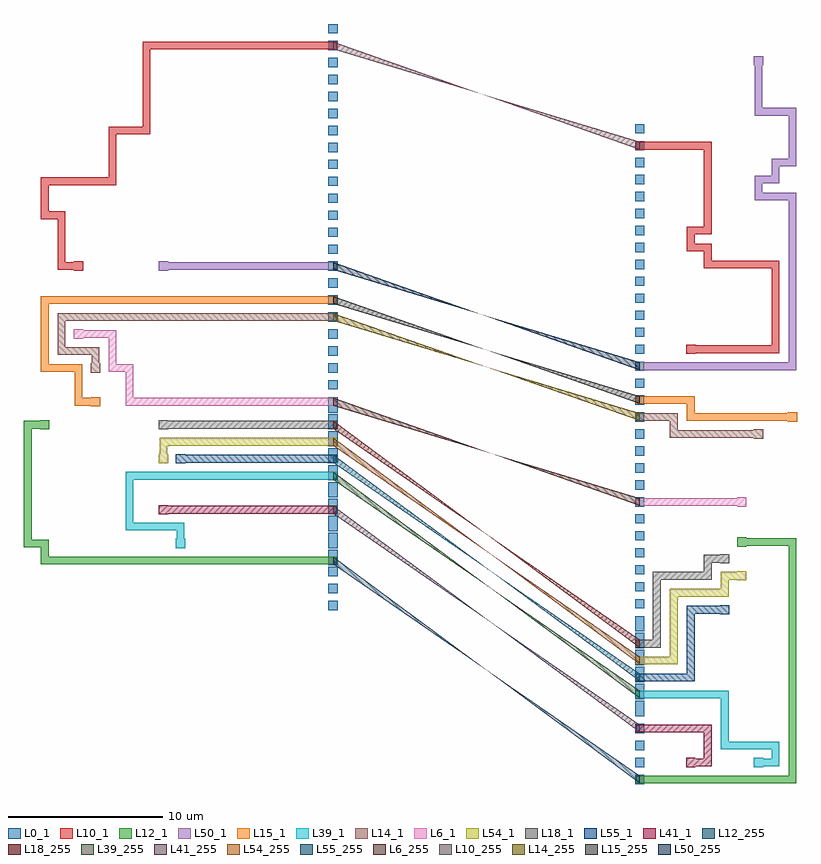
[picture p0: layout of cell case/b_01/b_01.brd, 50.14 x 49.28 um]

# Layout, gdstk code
import gdstk
lib = gdstk.Library(unit=1e-6, precision=2.5e-10)
def R(c, l, rs):  # rectangles x0, y0, x1, y1
    for r in rs: c.add(gdstk.rectangle(r[:2], r[2:], *l))
def A(c, l, x, y, w, h, nx, ny, dx, dy):  # array of equal rectangles
    R(c, l, [(x+i*dx, y+j*dy, x+i*dx+w, y+j*dy+h) for i in range(nx) for j in range(ny)])
def P(c, l, *ps):  # polygons
    for p in ps: c.add(gdstk.Polygon(p, *l))
L0_1 = (0, 1)
L6_1 = (6, 1)
L6_255 = (6, 255)
L10_1 = (10, 1)
L10_255 = (10, 255)
L12_1 = (12, 1)
L12_255 = (12, 255)
L14_1 = (14, 1)
L14_255 = (14, 255)
L15_1 = (15, 1)
L15_255 = (15, 255)
L18_1 = (18, 1)
L18_255 = (18, 255)
L39_1 = (39, 1)
L39_255 = (39, 255)
L41_1 = (41, 1)
L41_255 = (41, 255)
L50_1 = (50, 1)
L50_255 = (50, 255)
L54_1 = (54, 1)
L54_255 = (54, 255)
L55_1 = (55, 1)
L55_255 = (55, 255)

case_b_01_b_01_brd = lib.new_cell('case/b_01/b_01.brd')
R(case_b_01_b_01_brd, L0_1, [(155.712,160.842,156.312,161.442), (155.712,160.842,156.312,161.442), (155.712,160.842,156.312,161.442), (155.712,160.842,156.312,161.442), (155.712,160.842,156.312,161.442), (155.712,160.842,156.312,161.442), (155.712,161.942,156.312,162.542), (155.712,161.942,156.312,162.542), (155.712,161.942,156.312,162.542), (155.712,161.942,156.312,162.542), (155.712,161.942,156.312,162.542), (155.712,161.942,156.312,162.542), (155.712,163.042,156.312,163.642), (155.712,163.042,156.312,163.642), (155.712,163.042,156.312,163.642), (155.712,163.042,156.312,163.642), (155.712,163.042,156.312,163.642), (155.712,163.042,156.312,163.642), (155.712,164.142,156.312,164.742), (155.712,164.142,156.312,164.742), (155.712,164.142,156.312,164.742), (155.712,164.142,156.312,164.742), (155.712,164.142,156.312,164.742), (155.712,164.142,156.312,164.742), (155.712,165.242,156.312,165.842), (155.712,165.242,156.312,165.842), (155.712,165.242,156.312,165.842), (155.712,165.242,156.312,165.842), (155.712,165.242,156.312,165.842), (155.712,165.242,156.312,165.842), (155.712,165.635,156.312,166.235), (155.712,165.635,156.312,166.235), (155.712,165.635,156.312,166.235), (155.712,165.635,156.312,166.235), (155.712,165.635,156.312,166.235), (155.712,166.342,156.312,166.942), (155.712,166.342,156.312,166.942), (155.712,166.342,156.312,166.942), (155.712,166.342,156.312,166.942), (155.712,166.342,156.312,166.942), (155.712,166.342,156.312,166.942), (155.712,166.735,156.312,167.335), (155.712,166.735,156.312,167.335), (155.712,166.735,156.312,167.335), (155.712,166.735,156.312,167.335), (155.712,166.735,156.312,167.335), (155.712,167.442,156.312,168.042), (155.712,167.442,156.312,168.042), (155.712,167.442,156.312,168.042), (155.712,167.442,156.312,168.042), (155.712,167.442,156.312,168.042), (155.712,167.442,156.312,168.042), (155.712,167.835,156.312,168.435), (155.712,167.835,156.312,168.435), (155.712,167.835,156.312,168.435), (155.712,167.835,156.312,168.435), (155.712,167.835,156.312,168.435), (155.712,168.542,156.312,169.142), (155.712,168.542,156.312,169.142), (155.712,168.542,156.312,169.142), (155.712,168.542,156.312,169.142), (155.712,168.542,156.312,169.142), (155.712,168.542,156.312,169.142), (155.712,168.935,156.312,169.535), (155.712,168.935,156.312,169.535), (155.712,168.935,156.312,169.535), (155.712,168.935,156.312,169.535), (155.712,168.935,156.312,169.535), (155.712,169.642,156.312,170.242), (155.712,169.642,156.312,170.242), (155.712,169.642,156.312,170.242), (155.712,169.642,156.312,170.242), (155.712,169.642,156.312,170.242), (155.712,169.642,156.312,170.242), (155.712,170.035,156.312,170.635), (155.712,170.035,156.312,170.635), (155.712,170.035,156.312,170.635), (155.712,170.035,156.312,170.635), (155.712,170.035,156.312,170.635), (155.712,170.742,156.312,171.342), (155.712,170.742,156.312,171.342), (155.712,170.742,156.312,171.342), (155.712,170.742,156.312,171.342), (155.712,170.742,156.312,171.342), (155.712,170.742,156.312,171.342), (155.712,171.135,156.312,171.735), (155.712,171.135,156.312,171.735), (155.712,171.135,156.312,171.735), (155.712,171.135,156.312,171.735), (155.712,171.135,156.312,171.735), (135.819,172.123,136.419,172.723), (135.819,172.123,136.419,172.723), (135.819,172.123,136.419,172.723), (135.819,172.123,136.419,172.723), (135.819,172.123,136.419,172.723), (155.712,172.235,156.312,172.835), (155.712,172.235,156.312,172.835), (155.712,172.235,156.312,172.835), (155.712,172.235,156.312,172.835), (155.712,172.235,156.312,172.835), (135.819,173.223,136.419,173.823), (135.819,173.223,136.419,173.823), (135.819,173.223,136.419,173.823), (135.819,173.223,136.419,173.823), (135.819,173.223,136.419,173.823), (155.712,173.335,156.312,173.935), (155.712,173.335,156.312,173.935), (155.712,173.335,156.312,173.935), (155.712,173.335,156.312,173.935), (155.712,173.335,156.312,173.935), (135.819,174.323,136.419,174.923), (135.819,174.323,136.419,174.923), (135.819,174.323,136.419,174.923), (135.819,174.323,136.419,174.923), (135.819,174.323,136.419,174.923), (155.712,174.435,156.312,175.035), (155.712,174.435,156.312,175.035), (155.712,174.435,156.312,175.035), (155.712,174.435,156.312,175.035), (155.712,174.435,156.312,175.035), (135.819,175.031,136.419,175.631), (135.819,175.031,136.419,175.631), (135.819,175.031,136.419,175.631), (135.819,175.031,136.419,175.631), (135.819,175.031,136.419,175.631), (135.819,175.031,136.419,175.631), (135.819,175.423,136.419,176.023), (135.819,175.423,136.419,176.023), (135.819,175.423,136.419,176.023), (135.819,175.423,136.419,176.023), (135.819,175.423,136.419,176.023), (155.712,175.535,156.312,176.135), (155.712,175.535,156.312,176.135), (155.712,175.535,156.312,176.135), (155.712,175.535,156.312,176.135), (155.712,175.535,156.312,176.135), (135.819,176.131,136.419,176.731), (135.819,176.131,136.419,176.731), (135.819,176.131,136.419,176.731), (135.819,176.131,136.419,176.731), (135.819,176.131,136.419,176.731), (135.819,176.131,136.419,176.731), (135.819,176.523,136.419,177.123), (135.819,176.523,136.419,177.123), (135.819,176.523,136.419,177.123), (135.819,176.523,136.419,177.123), (135.819,176.523,136.419,177.123), (155.712,176.635,156.312,177.235), (155.712,176.635,156.312,177.235), (155.712,176.635,156.312,177.235), (155.712,176.635,156.312,177.235), (155.712,176.635,156.312,177.235), (135.819,177.231,136.419,177.831), (135.819,177.231,136.419,177.831), (135.819,177.231,136.419,177.831), (135.819,177.231,136.419,177.831), (135.819,177.231,136.419,177.831), (135.819,177.231,136.419,177.831), (135.819,177.623,136.419,178.223), (135.819,177.623,136.419,178.223), (135.819,177.623,136.419,178.223), (135.819,177.623,136.419,178.223), (135.819,177.623,136.419,178.223), (155.712,177.735,156.312,178.335), (155.712,177.735,156.312,178.335), (155.712,177.735,156.312,178.335), (155.712,177.735,156.312,178.335), (155.712,177.735,156.312,178.335), (135.819,178.331,136.419,178.931), (135.819,178.331,136.419,178.931), (135.819,178.331,136.419,178.931), (135.819,178.331,136.419,178.931), (135.819,178.331,136.419,178.931), (135.819,178.331,136.419,178.931), (135.819,178.723,136.419,179.323), (135.819,178.723,136.419,179.323), (135.819,178.723,136.419,179.323), (135.819,178.723,136.419,179.323), (135.819,178.723,136.419,179.323), (155.712,178.835,156.312,179.435), (155.712,178.835,156.312,179.435), (155.712,178.835,156.312,179.435), (155.712,178.835,156.312,179.435), (155.712,178.835,156.312,179.435), (135.819,179.431,136.419,180.031), (135.819,179.431,136.419,180.031), (135.819,179.431,136.419,180.031), (135.819,179.431,136.419,180.031), (135.819,179.431,136.419,180.031), (135.819,179.431,136.419,180.031), (135.819,179.823,136.419,180.423), (135.819,179.823,136.419,180.423), (135.819,179.823,136.419,180.423), (135.819,179.823,136.419,180.423), (135.819,179.823,136.419,180.423), (155.712,179.935,156.312,180.535), (155.712,179.935,156.312,180.535), (155.712,179.935,156.312,180.535), (155.712,179.935,156.312,180.535), (155.712,179.935,156.312,180.535), (135.819,180.531,136.419,181.131), (135.819,180.531,136.419,181.131), (135.819,180.531,136.419,181.131), (135.819,180.531,136.419,181.131), (135.819,180.531,136.419,181.131), (135.819,180.531,136.419,181.131), (135.819,180.923,136.419,181.523), (135.819,180.923,136.419,181.523), (135.819,180.923,136.419,181.523), (135.819,180.923,136.419,181.523), (135.819,180.923,136.419,181.523), (155.712,181.035,156.312,181.635), (155.712,181.035,156.312,181.635), (155.712,181.035,156.312,181.635), (155.712,181.035,156.312,181.635), (155.712,181.035,156.312,181.635), (135.819,181.631,136.419,182.231), (135.819,181.631,136.419,182.231), (135.819,181.631,136.419,182.231), (135.819,181.631,136.419,182.231), (135.819,181.631,136.419,182.231), (135.819,181.631,136.419,182.231), (135.819,182.023,136.419,182.623), (135.819,182.023,136.419,182.623), (135.819,182.023,136.419,182.623), (135.819,182.023,136.419,182.623), (135.819,182.023,136.419,182.623), (155.712,182.135,156.312,182.735), (155.712,182.135,156.312,182.735), (155.712,182.135,156.312,182.735), (155.712,182.135,156.312,182.735), (155.712,182.135,156.312,182.735), (135.819,182.731,136.419,183.331), (135.819,182.731,136.419,183.331), (135.819,182.731,136.419,183.331), (135.819,182.731,136.419,183.331), (135.819,182.731,136.419,183.331), (135.819,182.731,136.419,183.331), (135.819,183.123,136.419,183.723), (135.819,183.123,136.419,183.723), (135.819,183.123,136.419,183.723), (135.819,183.123,136.419,183.723), (135.819,183.123,136.419,183.723), (155.712,183.235,156.312,183.835), (155.712,183.235,156.312,183.835), (155.712,183.235,156.312,183.835), (155.712,183.235,156.312,183.835), (155.712,183.235,156.312,183.835), (135.819,183.831,136.419,184.431), (135.819,183.831,136.419,184.431), (135.819,183.831,136.419,184.431), (135.819,183.831,136.419,184.431), (135.819,183.831,136.419,184.431), (135.819,183.831,136.419,184.431), (135.819,184.223,136.419,184.823), (135.819,184.223,136.419,184.823), (135.819,184.223,136.419,184.823), (135.819,184.223,136.419,184.823), (135.819,184.223,136.419,184.823), (155.712,184.335,156.312,184.935), (155.712,184.335,156.312,184.935), (155.712,184.335,156.312,184.935), (155.712,184.335,156.312,184.935), (155.712,184.335,156.312,184.935), (135.819,184.931,136.419,185.531), (135.819,184.931,136.419,185.531), (135.819,184.931,136.419,185.531), (135.819,184.931,136.419,185.531), (135.819,184.931,136.419,185.531), (135.819,184.931,136.419,185.531), (135.819,185.323,136.419,185.923), (135.819,185.323,136.419,185.923), (135.819,185.323,136.419,185.923), (135.819,185.323,136.419,185.923), (135.819,185.323,136.419,185.923), (155.712,185.435,156.312,186.035), (155.712,185.435,156.312,186.035), (155.712,185.435,156.312,186.035), (155.712,185.435,156.312,186.035), (155.712,185.435,156.312,186.035), (135.819,186.423,136.419,187.023), (135.819,186.423,136.419,187.023), (135.819,186.423,136.419,187.023), (135.819,186.423,136.419,187.023), (135.819,186.423,136.419,187.023), (155.712,186.535,156.312,187.135), (155.712,186.535,156.312,187.135), (155.712,186.535,156.312,187.135), (155.712,186.535,156.312,187.135), (155.712,186.535,156.312,187.135), (135.819,187.523,136.419,188.123), (135.819,187.523,136.419,188.123), (135.819,187.523,136.419,188.123), (135.819,187.523,136.419,188.123), (135.819,187.523,136.419,188.123), (155.712,187.635,156.312,188.235), (155.712,187.635,156.312,188.235), (155.712,187.635,156.312,188.235), (155.712,187.635,156.312,188.235), (155.712,187.635,156.312,188.235), (135.819,188.623,136.419,189.223), (135.819,188.623,136.419,189.223), (135.819,188.623,136.419,189.223), (135.819,188.623,136.419,189.223), (135.819,188.623,136.419,189.223), (155.712,188.735,156.312,189.335), (155.712,188.735,156.312,189.335), (155.712,188.735,156.312,189.335), (155.712,188.735,156.312,189.335), (155.712,188.735,156.312,189.335), (135.819,189.723,136.419,190.323), (135.819,189.723,136.419,190.323), (135.819,189.723,136.419,190.323), (135.819,189.723,136.419,190.323), (135.819,189.723,136.419,190.323), (155.712,189.835,156.312,190.435), (155.712,189.835,156.312,190.435), (155.712,189.835,156.312,190.435), (155.712,189.835,156.312,190.435), (155.712,189.835,156.312,190.435), (135.819,190.823,136.419,191.423), (135.819,190.823,136.419,191.423), (135.819,190.823,136.419,191.423), (135.819,190.823,136.419,191.423), (135.819,190.823,136.419,191.423), (155.712,190.935,156.312,191.535), (155.712,190.935,156.312,191.535), (155.712,190.935,156.312,191.535), (155.712,190.935,156.312,191.535), (155.712,190.935,156.312,191.535), (135.819,191.923,136.419,192.523), (135.819,191.923,136.419,192.523), (135.819,191.923,136.419,192.523), (135.819,191.923,136.419,192.523), (135.819,191.923,136.419,192.523), (155.712,192.035,156.312,192.635), (155.712,192.035,156.312,192.635), (155.712,192.035,156.312,192.635), (155.712,192.035,156.312,192.635), (155.712,192.035,156.312,192.635), (135.819,193.023,136.419,193.623), (135.819,193.023,136.419,193.623), (135.819,193.023,136.419,193.623), (135.819,193.023,136.419,193.623), (135.819,193.023,136.419,193.623), (155.712,193.135,156.312,193.735), (155.712,193.135,156.312,193.735), (155.712,193.135,156.312,193.735), (155.712,193.135,156.312,193.735), (155.712,193.135,156.312,193.735), (135.819,194.123,136.419,194.723), (135.819,194.123,136.419,194.723), (135.819,194.123,136.419,194.723), (135.819,194.123,136.419,194.723), (135.819,194.123,136.419,194.723), (155.712,194.235,156.312,194.835), (155.712,194.235,156.312,194.835), (155.712,194.235,156.312,194.835), (155.712,194.235,156.312,194.835), (155.712,194.235,156.312,194.835), (135.819,195.223,136.419,195.823), (135.819,195.223,136.419,195.823), (135.819,195.223,136.419,195.823), (135.819,195.223,136.419,195.823), (135.819,195.223,136.419,195.823), (155.712,195.335,156.312,195.935), (155.712,195.335,156.312,195.935), (155.712,195.335,156.312,195.935), (155.712,195.335,156.312,195.935), (155.712,195.335,156.312,195.935), (135.819,196.323,136.419,196.923), (135.819,196.323,136.419,196.923), (135.819,196.323,136.419,196.923), (135.819,196.323,136.419,196.923), (135.819,196.323,136.419,196.923), (155.712,196.435,156.312,197.035), (155.712,196.435,156.312,197.035), (155.712,196.435,156.312,197.035), (155.712,196.435,156.312,197.035), (155.712,196.435,156.312,197.035), (135.819,197.423,136.419,198.023), (135.819,197.423,136.419,198.023), (135.819,197.423,136.419,198.023), (135.819,197.423,136.419,198.023), (135.819,197.423,136.419,198.023), (155.712,197.535,156.312,198.135), (155.712,197.535,156.312,198.135), (155.712,197.535,156.312,198.135), (155.712,197.535,156.312,198.135), (155.712,197.535,156.312,198.135), (135.819,198.523,136.419,199.123), (135.819,198.523,136.419,199.123), (135.819,198.523,136.419,199.123), (135.819,198.523,136.419,199.123), (135.819,198.523,136.419,199.123), (155.712,198.635,156.312,199.235), (155.712,198.635,156.312,199.235), (155.712,198.635,156.312,199.235), (155.712,198.635,156.312,199.235), (155.712,198.635,156.312,199.235), (135.819,199.623,136.419,200.223), (135.819,199.623,136.419,200.223), (135.819,199.623,136.419,200.223), (135.819,199.623,136.419,200.223), (135.819,199.623,136.419,200.223), (155.712,199.735,156.312,200.335), (155.712,199.735,156.312,200.335), (155.712,199.735,156.312,200.335), (155.712,199.735,156.312,200.335), (155.712,199.735,156.312,200.335), (135.819,200.723,136.419,201.323), (135.819,200.723,136.419,201.323), (135.819,200.723,136.419,201.323), (135.819,200.723,136.419,201.323), (135.819,200.723,136.419,201.323), (155.712,200.835,156.312,201.435), (155.712,200.835,156.312,201.435), (155.712,200.835,156.312,201.435), (155.712,200.835,156.312,201.435), (155.712,200.835,156.312,201.435), (135.819,201.823,136.419,202.423), (135.819,201.823,136.419,202.423), (135.819,201.823,136.419,202.423), (135.819,201.823,136.419,202.423), (135.819,201.823,136.419,202.423), (155.712,201.935,156.312,202.535), (155.712,201.935,156.312,202.535), (155.712,201.935,156.312,202.535), (155.712,201.935,156.312,202.535), (155.712,201.935,156.312,202.535), (135.819,202.923,136.419,203.523), (135.819,202.923,136.419,203.523), (135.819,202.923,136.419,203.523), (135.819,202.923,136.419,203.523), (135.819,202.923,136.419,203.523), (155.712,203.035,156.312,203.635), (155.712,203.035,156.312,203.635), (155.712,203.035,156.312,203.635), (155.712,203.035,156.312,203.635), (155.712,203.035,156.312,203.635), (135.819,204.023,136.419,204.623), (135.819,204.023,136.419,204.623), (135.819,204.023,136.419,204.623), (135.819,204.023,136.419,204.623), (135.819,204.023,136.419,204.623), (135.819,205.123,136.419,205.723), (135.819,205.123,136.419,205.723), (135.819,205.123,136.419,205.723), (135.819,205.123,136.419,205.723), (135.819,205.123,136.419,205.723), (135.819,206.223,136.419,206.823), (135.819,206.223,136.419,206.823), (135.819,206.223,136.419,206.823), (135.819,206.223,136.419,206.823), (135.819,206.223,136.419,206.823), (135.819,207.323,136.419,207.923), (135.819,207.323,136.419,207.923), (135.819,207.323,136.419,207.923), (135.819,207.323,136.419,207.923), (135.819,207.323,136.419,207.923), (135.819,208.423,136.419,209.023), (135.819,208.423,136.419,209.023), (135.819,208.423,136.419,209.023), (135.819,208.423,136.419,209.023), (135.819,208.423,136.419,209.023), (135.819,209.523,136.419,210.123), (135.819,209.523,136.419,210.123), (135.819,209.523,136.419,210.123), (135.819,209.523,136.419,210.123), (135.819,209.523,136.419,210.123)])
A(case_b_01_b_01_brd, L6_1, 155.762, 178.885, 1.6, 0.5, 6, 1, 1.1, 0)
A(case_b_01_b_01_brd, L6_1, 122.669, 185.373, 1.6, 0.5, 12, 1, 1.1, 0)
R(case_b_01_b_01_brd, L6_1, [(162.312,178.835,162.912,179.435), (122.669,185.373,123.169,186.973), (122.669,186.473,123.169,188.073), (121.569,187.573,123.169,188.073), (121.569,187.573,122.069,189.173), (121.569,188.673,122.069,190.273), (119.319,189.723,119.919,190.323), (119.369,189.773,120.969,190.273), (120.469,189.773,122.069,190.273)])
P(case_b_01_b_01_brd, L6_255, [(156.012,178.885),(156.012,179.385),(136.119,185.373),(136.119,185.873)])
A(case_b_01_b_01_brd, L10_1, 159.062, 188.785, 1.6, 0.5, 5, 1, 1.1, 0)
A(case_b_01_b_01_brd, L10_1, 164.562, 188.785, 0.5, 1.6, 1, 5, 0, 1.1)
A(case_b_01_b_01_brd, L10_1, 118.269, 194.173, 0.5, 1.6, 1, 3, 0, 1.1)
A(case_b_01_b_01_brd, L10_1, 160.162, 194.285, 1.6, 0.5, 4, 1, 1.1, 0)
A(case_b_01_b_01_brd, L10_1, 160.162, 196.485, 0.5, 1.6, 1, 5, 0, 1.1)
A(case_b_01_b_01_brd, L10_1, 117.169, 199.673, 1.6, 0.5, 4, 1, 1.1, 0)
A(case_b_01_b_01_brd, L10_1, 121.569, 199.673, 0.5, 1.6, 1, 3, 0, 1.1)
A(case_b_01_b_01_brd, L10_1, 155.762, 201.985, 1.6, 0.5, 4, 1, 1.1, 0)
A(case_b_01_b_01_brd, L10_1, 123.769, 202.973, 0.5, 1.6, 1, 5, 0, 1.1)
A(case_b_01_b_01_brd, L10_1, 123.769, 208.473, 1.6, 0.5, 11, 1, 1.1, 0)
R(case_b_01_b_01_brd, L10_1, [(159.012,188.735,159.612,189.335), (119.319,194.123,119.919,194.723), (118.269,194.173,119.869,194.673), (160.162,194.285,160.662,195.885), (159.062,195.385,160.662,195.885), (159.062,195.385,159.562,196.985), (159.062,196.485,160.662,196.985), (117.169,197.473,118.769,197.973), (117.169,197.473,117.669,199.073), (117.169,198.573,117.669,200.173), (121.569,202.973,123.169,203.473), (122.669,202.973,124.269,203.473)])
P(case_b_01_b_01_brd, L10_255, [(156.012,201.985),(156.012,202.485),(136.119,208.473),(136.119,208.973)])
A(case_b_01_b_01_brd, L12_1, 155.762, 160.892, 1.6, 0.5, 9, 1, 1.1, 0)
A(case_b_01_b_01_brd, L12_1, 165.662, 160.892, 0.5, 1.6, 1, 14, 0, 1.1)
A(case_b_01_b_01_brd, L12_1, 117.169, 175.081, 1.6, 0.5, 17, 1, 1.1, 0)
A(case_b_01_b_01_brd, L12_1, 116.069, 176.181, 0.5, 1.6, 1, 7, 0, 1.1)
A(case_b_01_b_01_brd, L12_1, 162.362, 176.292, 1.6, 0.5, 3, 1, 1.1, 0)
R(case_b_01_b_01_brd, L12_1, [(117.169,175.081,117.669,176.681), (116.069,176.181,117.669,176.681), (162.312,176.242,162.912,176.842), (117.119,183.831,117.719,184.431), (116.069,183.881,117.669,184.381)])
P(case_b_01_b_01_brd, L12_255, [(156.012,160.892),(156.012,161.392),(136.119,175.081),(136.119,175.581)])
A(case_b_01_b_01_brd, L14_1, 157.962, 183.285, 1.6, 0.5, 5, 1, 1.1, 0)
A(case_b_01_b_01_brd, L14_1, 118.269, 190.873, 1.6, 0.5, 16, 1, 1.1, 0)
R(case_b_01_b_01_brd, L14_1, [(163.412,183.235,164.012,183.835), (157.962,183.285,158.462,184.885), (155.762,184.385,157.362,184.885), (156.862,184.385,158.462,184.885), (120.419,187.523,121.019,188.123), (120.469,187.573,120.969,189.173), (118.269,188.673,119.869,189.173), (118.269,188.673,118.769,190.273), (119.369,188.673,120.969,189.173), (118.269,189.773,118.769,191.373)])
P(case_b_01_b_01_brd, L14_255, [(156.012,184.385),(156.012,184.885),(136.119,190.873),(136.119,191.373)])
A(case_b_01_b_01_brd, L15_1, 159.062, 184.385, 1.6, 0.5, 6, 1, 1.1, 0)
A(case_b_01_b_01_brd, L15_1, 155.762, 185.485, 1.6, 0.5, 3, 1, 1.1, 0)
A(case_b_01_b_01_brd, L15_1, 117.169, 187.573, 0.5, 1.6, 1, 4, 0, 1.1)
A(case_b_01_b_01_brd, L15_1, 117.169, 191.973, 1.6, 0.5, 17, 1, 1.1, 0)
R(case_b_01_b_01_brd, L15_1, [(165.612,184.335,166.212,184.935), (159.062,184.385,159.562,185.985), (120.419,185.323,121.019,185.923), (119.369,185.373,120.969,185.873), (119.369,185.373,119.869,186.973), (119.369,186.473,119.869,188.073), (117.169,187.573,118.769,188.073), (118.269,187.573,119.869,188.073)])
P(case_b_01_b_01_brd, L15_255, [(156.012,185.485),(156.012,185.985),(136.119,191.973),(136.119,192.473)])
A(case_b_01_b_01_brd, L18_1, 156.862, 169.692, 0.5, 1.6, 1, 4, 0, 1.1)
A(case_b_01_b_01_brd, L18_1, 156.862, 174.092, 1.6, 0.5, 3, 1, 1.1, 0)
A(case_b_01_b_01_brd, L18_1, 124.869, 183.881, 1.6, 0.5, 10, 1, 1.1, 0)
R(case_b_01_b_01_brd, L18_1, [(155.762,169.692,157.362,170.192), (160.162,174.092,160.662,175.692), (161.212,175.142,161.812,175.742), (160.162,175.192,161.762,175.692), (124.819,183.831,125.419,184.431)])
P(case_b_01_b_01_brd, L18_255, [(156.012,169.692),(156.012,170.192),(136.119,183.881),(136.119,184.381)])
A(case_b_01_b_01_brd, L39_1, 161.262, 163.092, 1.6, 0.5, 3, 1, 1.1, 0)
A(case_b_01_b_01_brd, L39_1, 161.262, 163.092, 0.5, 1.6, 1, 3, 0, 1.1)
A(case_b_01_b_01_brd, L39_1, 155.762, 166.392, 1.6, 0.5, 5, 1, 1.1, 0)
A(case_b_01_b_01_brd, L39_1, 122.669, 177.281, 1.6, 0.5, 3, 1, 1.1, 0)
A(case_b_01_b_01_brd, L39_1, 122.669, 177.281, 0.5, 1.6, 1, 3, 0, 1.1)
A(case_b_01_b_01_brd, L39_1, 122.669, 180.581, 1.6, 0.5, 12, 1, 1.1, 0)
R(case_b_01_b_01_brd, L39_1, [(163.412,161.942,164.012,162.542), (163.462,161.992,165.062,162.492), (164.562,161.992,165.062,163.592), (125.919,176.131,126.519,176.731), (125.969,176.181,126.469,177.781)])
P(case_b_01_b_01_brd, L39_255, [(156.012,166.392),(156.012,166.892),(136.119,180.581),(136.119,181.081)])
A(case_b_01_b_01_brd, L41_1, 155.762, 164.192, 1.6, 0.5, 4, 1, 1.1, 0)
A(case_b_01_b_01_brd, L41_1, 124.869, 178.381, 1.6, 0.5, 10, 1, 1.1, 0)
R(case_b_01_b_01_brd, L41_1, [(159.012,161.942,159.612,162.542), (159.062,161.992,160.662,162.492), (160.162,161.992,160.662,163.592), (160.162,163.092,160.662,164.692), (124.819,178.331,125.419,178.931)])
P(case_b_01_b_01_brd, L41_255, [(156.012,164.192),(156.012,164.692),(136.119,178.381),(136.119,178.881)])
A(case_b_01_b_01_brd, L50_1, 155.762, 187.685, 1.6, 0.5, 9, 1, 1.1, 0)
A(case_b_01_b_01_brd, L50_1, 165.662, 187.685, 0.5, 1.6, 1, 10, 0, 1.1)
A(case_b_01_b_01_brd, L50_1, 124.869, 194.173, 1.6, 0.5, 10, 1, 1.1, 0)
A(case_b_01_b_01_brd, L50_1, 165.662, 200.885, 0.5, 1.6, 1, 3, 0, 1.1)
A(case_b_01_b_01_brd, L50_1, 163.462, 204.185, 0.5, 1.6, 1, 3, 0, 1.1)
R(case_b_01_b_01_brd, L50_1, [(124.819,194.123,125.419,194.723), (163.462,198.685,165.062,199.185), (163.462,198.685,163.962,200.285), (164.562,198.685,166.162,199.185), (163.462,199.785,165.062,200.285), (164.562,199.785,165.062,201.385), (164.562,200.885,166.162,201.385), (163.462,204.185,165.062,204.685), (164.562,204.185,166.162,204.685), (163.412,207.435,164.012,208.035)])
P(case_b_01_b_01_brd, L50_255, [(156.012,187.685),(156.012,188.185),(136.119,194.173),(136.119,194.673)])
A(case_b_01_b_01_brd, L54_1, 157.962, 168.592, 0.5, 1.6, 1, 4, 0, 1.1)
A(case_b_01_b_01_brd, L54_1, 157.962, 172.992, 1.6, 0.5, 3, 1, 1.1, 0)
A(case_b_01_b_01_brd, L54_1, 124.869, 182.781, 1.6, 0.5, 10, 1, 1.1, 0)
R(case_b_01_b_01_brd, L54_1, [(155.762,168.592,157.362,169.092), (156.862,168.592,158.462,169.092), (161.262,172.992,161.762,174.592), (162.312,174.042,162.912,174.642), (161.262,174.092,162.862,174.592), (124.819,181.631,125.419,182.231), (124.869,181.681,125.369,183.281)])
P(case_b_01_b_01_brd, L54_255, [(156.012,168.592),(156.012,169.092),(136.119,182.781),(136.119,183.281)])
A(case_b_01_b_01_brd, L55_1, 155.762, 167.492, 1.6, 0.5, 3, 1, 1.1, 0)
A(case_b_01_b_01_brd, L55_1, 159.062, 167.492, 0.5, 1.6, 1, 4, 0, 1.1)
A(case_b_01_b_01_brd, L55_1, 125.969, 181.681, 1.6, 0.5, 9, 1, 1.1, 0)
R(case_b_01_b_01_brd, L55_1, [(161.212,171.842,161.812,172.442), (159.062,171.892,160.662,172.392), (160.162,171.892,161.762,172.392), (125.919,181.631,126.519,182.231)])
P(case_b_01_b_01_brd, L55_255, [(156.012,167.492),(156.012,167.992),(136.119,181.681),(136.119,182.181)])

lib.write_gds('case_b_01_b_01.brd.gds')
